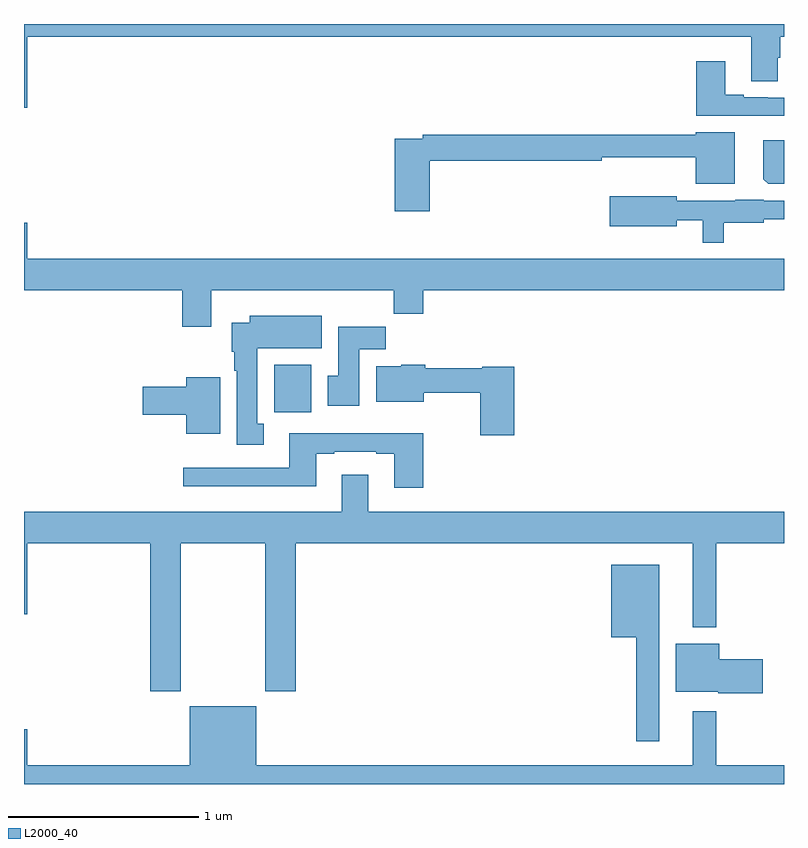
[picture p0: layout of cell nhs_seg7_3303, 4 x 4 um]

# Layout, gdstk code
import gdstk
lib = gdstk.Library(unit=1e-6, precision=1e-09)
def R(c, l, rs):  # rectangles x0, y0, x1, y1
    for r in rs: c.add(gdstk.rectangle(r[:2], r[2:], *l))
def P(c, l, *ps):  # polygons
    for p in ps: c.add(gdstk.Polygon(p, *l))
L2000_40 = (2000, 40)

nhs_seg7_3303 = lib.new_cell('nhs_seg7_3303')
R(nhs_seg7_3303, L2000_40, [(322.317,1015.956,322.513,1016.206)])
P(nhs_seg7_3303, L2000_40, [(321.016,1017.932),(324.827,1017.932),(324.827,1017.7),(324.966,1017.7),(324.966,1017.822),(324.98,1017.822),(324.98,1017.932),(325,1017.932),(325,1018),(321,1018),(321,1017.558),(321.016,1017.558)],
  [(325,1017.612),(324.914,1017.612),(324.914,1017.615),(324.787,1017.615),(324.787,1017.628),(324.691,1017.628),(324.691,1017.805),(324.539,1017.805),(324.539,1017.518),(325,1017.518)],
  [(323.135,1017.28),(324.04,1017.28),(324.04,1017.299),(324.536,1017.299),(324.536,1017.158),(324.742,1017.158),(324.742,1017.43),(324.536,1017.43),(324.536,1017.416),(323.098,1017.416),(323.098,1017.396),(322.952,1017.396),(322.952,1017.015),(323.135,1017.015)],
  [(325,1017.388),(324.89,1017.388),(324.89,1017.184),(324.916,1017.158),(325,1017.158)],
  [(324.682,1016.954),(324.894,1016.954),(324.894,1016.973),(325,1016.973),(325,1017.069),(324.894,1017.069),(324.894,1017.076),(324.744,1017.076),(324.744,1017.07),(324.436,1017.07),(324.436,1017.094),(324.084,1017.094),(324.084,1016.936),(324.436,1016.936),(324.436,1016.966),(324.572,1016.966),(324.572,1016.849),(324.682,1016.849)],
  [(321.985,1016.6),(322.945,1016.6),(322.945,1016.476),(323.102,1016.476),(323.102,1016.6),(325,1016.6),(325,1016.764),(321.016,1016.764),(321.016,1016.953),(321,1016.953),(321,1016.6),(321.833,1016.6),(321.833,1016.406),(321.985,1016.406)],
  [(322.261,1015.897),(322.228,1015.897),(322.228,1016.294),(322.567,1016.294),(322.567,1016.464),(322.187,1016.464),(322.187,1016.428),(322.094,1016.428),(322.094,1016.274),(322.106,1016.274),(322.106,1016.174),(322.121,1016.174),(322.121,1015.785),(322.261,1015.785)],
  [(322.765,1016.288),(322.904,1016.288),(322.904,1016.406),(322.655,1016.406),(322.655,1016.148),(322.598,1016.148),(322.598,1015.992),(322.765,1015.992)],
  [(323.579,1016.196),(323.412,1016.196),(323.412,1016.188),(323.112,1016.188),(323.112,1016.206),(322.986,1016.206),(322.986,1016.2),(322.853,1016.2),(322.853,1016.012),(323.104,1016.012),(323.104,1016.059),(323.401,1016.059),(323.401,1015.836),(323.579,1015.836)],
  [(322.033,1016.14),(321.854,1016.14),(321.854,1016.09),(321.624,1016.09),(321.624,1015.943),(321.854,1015.943),(321.854,1015.844),(322.033,1015.844)],
  [(323.102,1015.846),(322.397,1015.846),(322.397,1015.665),(321.837,1015.665),(321.837,1015.568),(322.537,1015.568),(322.537,1015.737),(322.633,1015.737),(322.633,1015.749),(322.853,1015.749),(322.853,1015.737),(322.949,1015.737),(322.949,1015.56),(323.102,1015.56)],
  [(321,1014.894),(321.016,1014.894),(321.016,1015.268),(321.665,1015.268),(321.665,1014.489),(321.825,1014.489),(321.825,1015.268),(322.27,1015.268),(322.27,1014.489),(322.43,1014.489),(322.43,1015.268),(324.521,1015.268),(324.521,1014.824),(324.643,1014.824),(324.643,1015.268),(325,1015.268),(325,1015.432),(322.813,1015.432),(322.813,1015.627),(322.673,1015.627),(322.673,1015.432),(321,1015.432)],
  [(324.343,1015.153),(324.092,1015.153),(324.092,1014.773),(324.222,1014.773),(324.222,1014.225),(324.343,1014.225)],
  [(324.889,1014.656),(324.658,1014.656),(324.658,1014.739),(324.431,1014.739),(324.431,1014.485),(324.654,1014.485),(324.654,1014.478),(324.889,1014.478)],
  [(325,1014.1),(324.643,1014.1),(324.643,1014.382),(324.521,1014.382),(324.521,1014.1),(322.222,1014.1),(322.222,1014.409),(321.872,1014.409),(321.872,1014.1),(321.016,1014.1),(321.016,1014.289),(321,1014.289),(321,1014),(325,1014)])

lib.write_gds('nhs_seg7_3303.gds')
